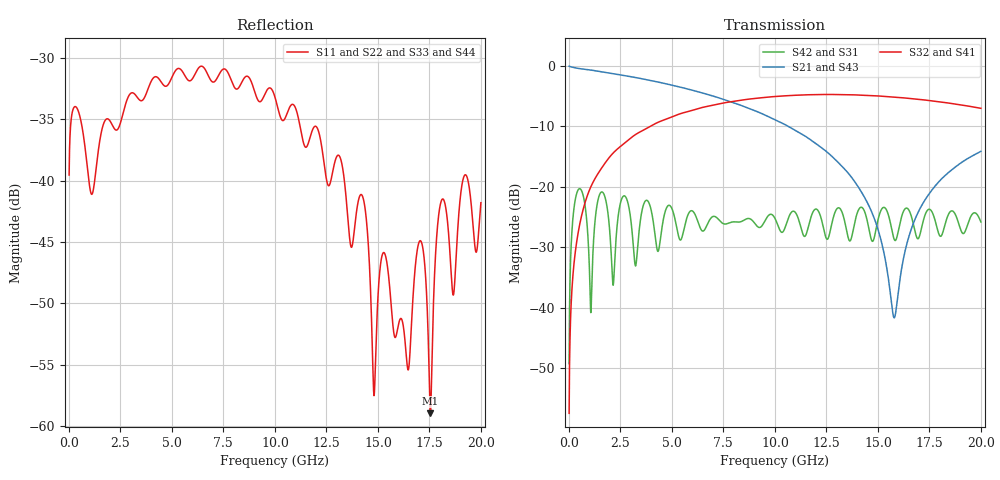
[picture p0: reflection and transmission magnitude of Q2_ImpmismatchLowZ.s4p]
! Touchstone generated by fitter/viewer
# HZ S  RI R 5.000000e+001
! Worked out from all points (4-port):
!   2000 points, 10 MHz to 20 GHz, reference 50 ohm
!   strongest paths, dB at 10 MHz, 5.01 GHz, 10.01 GHz, 15.01 GHz, 20 GHz:
!     S32: -57.4, -8.5, -5.1, -5.0, -7.1
!     S41: -57.4, -8.5, -5.1, -5.0, -7.1
!     S21: -0.1, -3.2, -8.9, -27.1, -14.1
!     S43: -0.1, -3.2, -8.9, -27.1, -14.1
!     S42: -49.2, -23.7, -25.3, -25.4, -25.8
!     S31: -49.2, -23.7, -25.3, -25.4, -25.8
!   lowest |S11| = -59.0 dB at 17.55 GHz (marker M1), VSWR 1.00, Z = 50 - j0.109 ohm
!   |S11| at or under -10 dB: start of sweep to end of sweep
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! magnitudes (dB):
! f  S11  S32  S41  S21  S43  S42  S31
! 10 MHz  -39.5  -57.4  -57.4  -0.1  -0.1  -49.2  -49.2
! 460 MHz  -34.3  -27.4  -27.4  -0.5  -0.5  -20.5  -20.5
! 3.05 GHz  -32.8  -11.8  -11.8  -1.9  -1.9  -26.8  -26.8
! 12.68 GHz  -40.2  -4.8  -4.8  -14.7  -14.7  -27.4  -27.4
! 15.79 GHz  -52.6  -5.2  -5.2  -41.6  -41.6  -28.7  -28.7
! 17.55 GHz  -59.0  -5.8  -5.8  -20.9  -20.9  -23.8  -23.8
! 20 GHz  -41.8  -7.1  -7.1  -14.1  -14.1  -25.8  -25.8
